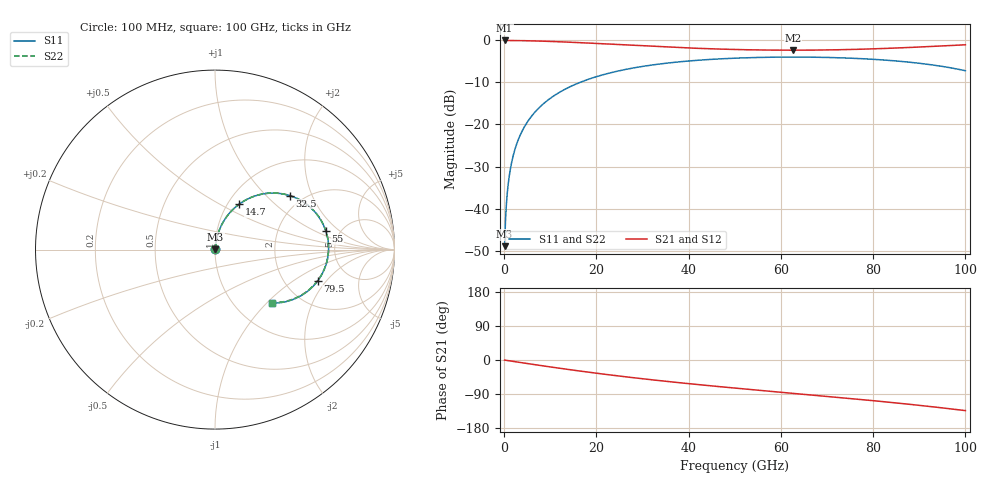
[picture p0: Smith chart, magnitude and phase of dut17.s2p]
! Touchstone file exported from HFSS 2026.1.0
!  File:  C:/ffzhzh/LocalFiles/Ansys_Project_Files/temp_train_RDL_17_1783497754_55944.aedt
!  Generated:  04:03:47 PM Jul  8, 2026
!  Design:  RDL
!  Project:  temp_train_RDL_17_1783497754_55944
! Variables:
!  h_bsmrdl = 2um
!  h_ox = 20um
!  h_rdl = 5um
!  h_sub = 80um
!  h_tmrdl = 3.88um
!  h_tsv = 80um
!  h_via = 3um
!  l_bsmrdl = 300um
!  l_sub = 863.71um
!  l_tmrdl = 463.71um
!  m_sub = 200um
!  pitch = 47.84um
!  r_tsv = 6um
!  s_tmrdl = 10um
!  w_bsmrdl = 18um
!  w_sub = 500um
!  w_tmrdl = 16.13um
!  x_tsv_center1 = 471.775um
!  x_tsv_center2 = 789.775um
!  x_tsv_center3 = 1269.615um
!  x_tsv_center4 = 1587.615um
!  x_tsv_center5 = 2067.455um
!  x_tsv_center6 = 2385.455um
# GHz S MA R 50.000000
! Terminal data exported
! Port[1] = TM_RDL1_1_T1
! Port[2] = TM_RDL1_1_T2
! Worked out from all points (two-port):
!   1000 points, 100 MHz to 100 GHz, reference 50 ohm
!   highest |S21| = -0.02 dB at 100 MHz (marker M1); lowest = -2.3 dB at 62.6 GHz (marker M2)
!   |S21| within 3 dB of the highest: start of sweep to end of sweep
!   lowest |S11| = -48.9 dB at 100 MHz (marker M3), VSWR 1.01, Z = 50.3 + j0.23 ohm
!   |S11| at or under -10 dB: start of sweep to 16.44 GHz
!   |S22| runs from -48.9 to -4.0 dB; largest |S21 - S12| = 1.4e-14
!   S11 on the Smith chart (normalised r, x): 100 MHz: 1.01, +0.00; 14.7 GHz: 1.13, +0.63; 32.5 GHz: 1.71, +1.39; 55 GHz: 3.87, +1.32; 79.5 GHz: 2.99, -1.64; 100 GHz: 1.46, -1.07
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0.1  0.003574 39.8  0.9973 -0.2  0.9973 -0.2  0.003574 39.8
! Gamma 0 0 0 0
! Port Impedance 50 0 50 0
0.8  0.01786 78.1  0.9966 -1.5  0.9966 -1.5  0.01786 78.1
1.1  0.02422 80.0  0.9964 -2.1  0.9964 -2.1  0.02422 80.0
1.4  0.03061 80.9  0.9961 -2.6  0.9961 -2.6  0.03061 80.9
2.3  0.04978 81.4  0.995 -4.3  0.995 -4.3  0.04978 81.4
3.6  0.07724 80.0  0.9927 -6.8  0.9927 -6.8  0.07724 80.0
5.5  0.1165 77.1  0.9879 -10.2  0.9879 -10.2  0.1165 77.1
7.9  0.1643 73.1  0.9798 -14.6  0.9798 -14.6  0.1643 73.1
11  0.223 67.9  0.9669 -20.0  0.9669 -20.0  0.223 68.0
14.7  0.2878 61.9  0.9486 -26.3  0.9486 -26.3  0.2878 61.9
16.8  0.322 58.5  0.9372 -29.8  0.9372 -29.8  0.3219 58.6
23.8  0.4209 47.9  0.8966 -40.7  0.8966 -40.7  0.4209 48.0
32.5  0.5132 35.9  0.8474 -52.9  0.8474 -52.9  0.5132 36.0
33.4  0.5209 34.7  0.8427 -54.1  0.8427 -54.1  0.5209 34.8
50.1  0.6141 14.9  0.7787 -74.2  0.7787 -74.2  0.6141 15.1
55  0.6261 9.6  0.7694 -79.6  0.7694 -79.6  0.6261 9.7
62.6  0.633 1.4  0.764 -87.9  0.764 -87.9  0.633 1.6
66.7  0.631 -3.0  0.7656 -92.4  0.7656 -92.4  0.631 -2.7
79.5  0.5975 -17.1  0.7909 -106.7  0.7909 -106.7  0.5975 -16.8
83.4  0.5782 -21.7  0.8045 -111.4  0.8045 -111.4  0.5782 -21.3
92.3  0.515 -32.8  0.8444 -122.7  0.8444 -122.7  0.515 -32.3
100  0.4355 -43.2  0.8859 -133.6  0.8859 -133.6  0.4355 -42.7
